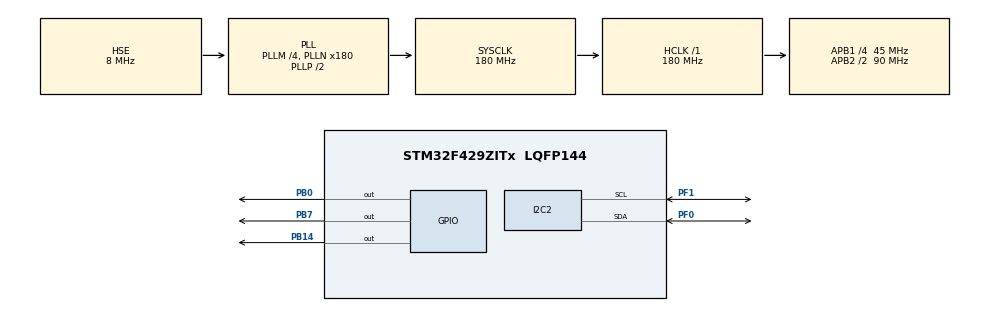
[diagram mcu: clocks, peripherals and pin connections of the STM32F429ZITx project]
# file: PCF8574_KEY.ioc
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I2C2.OwnAddress=0
Mcu.Family=STM32F4
Mcu.Name=STM32F429ZITx
Mcu.Package=LQFP144
NVIC.PriorityGroup=NVIC_PRIORITYGROUP_4
PA13.Mode=Serial_Wire
PA13.Signal=SYS_JTMS-SWDIO
PA14.Mode=Serial_Wire
PA14.Signal=SYS_JTCK-SWCLK
PB0.Signal=GPIO_Output
PB14.Signal=GPIO_Output
PB7.Signal=GPIO_Output
PF0.Mode=I2C
PF0.Signal=I2C2_SDA
PF1.Mode=I2C
PF1.Signal=I2C2_SCL
PH0/OSC_IN.Mode=HSE-External-Oscillator
PH0/OSC_IN.Signal=RCC_OSC_IN
PH1/OSC_OUT.Mode=HSE-External-Oscillator
PH1/OSC_OUT.Signal=RCC_OSC_OUT
ProjectManager.HeapSize=0x200
ProjectManager.StackSize=0x400
ProjectManager.TargetToolchain=STM32CubeIDE
RCC.48MHZClocksFreq_Value=90000000
RCC.AHBFreq_Value=180000000
RCC.APB1CLKDivider=RCC_HCLK_DIV4
RCC.APB1Freq_Value=45000000
RCC.APB1TimFreq_Value=90000000
RCC.APB2CLKDivider=RCC_HCLK_DIV2
RCC.APB2Freq_Value=90000000
RCC.APB2TimFreq_Value=180000000
RCC.CortexFreq_Value=180000000
RCC.HCLKFreq_Value=180000000
RCC.HSE_VALUE=8000000
RCC.HSI_VALUE=16000000
RCC.LSE_VALUE=32768
RCC.PLLM=4
RCC.PLLN=180
RCC.PLLSourceVirtual=RCC_PLLSOURCE_HSE
RCC.SYSCLKFreq_VALUE=180000000
RCC.SYSCLKSource=RCC_SYSCLKSOURCE_PLLCLK
RCC.VCOOutputFreq_Value=360000000
board=custom

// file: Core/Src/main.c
/* USER CODE BEGIN Header */
/**
  ******************************************************************************
  * @file           : main.c
  * @brief          : Main program body
  ******************************************************************************
  * @attention
  *
  * Copyright (c) 2022 STMicroelectronics.
  * All rights reserved.
  *
  * This software is licensed under terms that can be found in the LICENSE file
  * in the root directory of this software component.
  * If no LICENSE file comes with this software, it is provided AS-IS.
  *
  ******************************************************************************
  */
/* USER CODE END Header */
#include "main.h"
#include "i2c.h"
#include "gpio.h"

/* USER CODE BEGIN Includes */

#include "pcf8574.h"
#include "stdio.h"
#include "string.h"
#include "usart.h"
#include "EXTI_keypad.h"

/* USER CODE END Includes */

/* USER CODE BEGIN PTD */

#include "math.h"

char scan(void);
char scan2(void);
void key_scan(void);
uint8_t readKey(uint8_t row);
uint8_t find_Val(uint8_t r);

/* USER CODE END PTD */

/* USER CODE BEGIN PV */

#define R3 0X80
#define R2 0x40
#define R1 0X20
#define R0 0x10

#define C3 0X00
#define C2 0x00
#define C1 0X00
#define C0 0x00

#define ROWS 4
#define COLS 4

const char keymap2[4][4] = {
  {'E','F','G','H'},
  {'I','J','K','L'},
  {'M','N','O','P'},
  {'Q','R','S','T'}
};

uint8_t keyx;

/////////////////////////////////////////////////////////////////////////////////

	const char keymap[4][4] = {
							  {'1','2','3','A'},
		  	  	  	  	  	  {'4','5','6','B'},
							  {'7','8','9','C'},
							  {'*','0','#','D'}
	};

 const char columnMask[4]; //= { 2, 1, 3, 4 };	//column select values

 char keypad_val;
 char keypad_val2;

 uint8_t val;
 uint8_t final_key_val = 0;

 uint8_t val2;
 uint8_t final_key_val2 = 0;

 uint8_t key1_flag = 0;
 uint8_t key2_flag = 0;

 uint8_t key_scan_flag1 = 0;
 uint8_t key_scan_flag2 = 0;

 //////////////////////////////////////////////
 char j = 0;
 	char k = 0;
 	uint8_t temp;
 	uint8_t temp_2;
 	uint8_t final_col[1] = {0};
 	uint8_t final_col2[1] = {0};
 	uint8_t a = 0;
/////////////////////////////////////////////////

/////////////////////////////////////////////////////////////////////////////////

 uint8_t data;
 uint8_t data_2;
 uint8_t rdata[1] = {0};
 uint8_t rdata2[1] = {0};
 uint8_t receieve_data = 0;
 char val_i2c[1] = {0};
 volatile int portPC13counter;

/* USER CODE END PV */

void SystemClock_Config(void);

int main(void)
{
  /* USER CODE BEGIN 1 */
//HAL_StatusTypeDef ret;

  /* USER CODE END 1 */

  /* MCU Configuration--------------------------------------------------------*/

  /* Reset of all peripherals, Initializes the Flash interface and the Systick. */
  HAL_Init();

  /* Configure the system clock */
  SystemClock_Config();

  /* Initialize all configured peripherals */
  MX_GPIO_Init();
  MX_I2C2_Init();
  /* USER CODE BEGIN 2 */
  uart3_pin_conf();
  EXTI_Keypad();

  //HAL_GPIO_WritePin(GPIOB, GPIO_PIN_14, GPIO_PIN_RESET);

  if(HAL_I2C_IsDeviceReady(&hi2c2,65,1, 100) == HAL_OK)
  {
	  HAL_GPIO_TogglePin(GPIOB, GPIO_PIN_14);
  }

//  HAL_I2C_Slave_Receive_IT(&hi2c2, rdata, sizeof(rdata));

  /* USER CODE END 2 */

  /* Infinite loop */
  /* USER CODE BEGIN WHILE */
  while (1)
  {

//	  final_col[0] = 255;
//
//	  HAL_I2C_Master_Transmit(&hi2c2, 65, final_col, 1, 100);
	  ///////////////////////////////  Transmit & Recieve I2C for 8pins 4x4 Matrix  /////////////////////////////////
	  if(HAL_I2C_IsDeviceReady(&hi2c2,64,1, 100) == HAL_OK)
	    {

		  HAL_GPIO_TogglePin(GPIOB, GPIO_PIN_7);

	    	  data = 0x0F;

	    		  j++;
	    		  if(j < 5)
	    		  {
					  data &= ~(0xF0 >> j);
					  temp = data;
					  temp &= 0x07;
					  if(j == 1)
					  {
						  temp = data + 7;
					  }
					  else if(j == 2)
					  {
						  temp = data + 4;
					  }
					  else if(j == 3)
					  {
						  temp = data + 10;
					  }
					  else if(j == 4)
					  {
						  temp = data + 13;
					  }

					  final_col[0] = temp + 240;

					  HAL_I2C_Master_Transmit(&hi2c2, 65, final_col, 1, 100);

					  HAL_I2C_Master_Receive(&hi2c2, 64, rdata, sizeof(rdata), 100);

					  key_scan_flag1 = 1;

	    		   }
	    		  else
	    		  {
	    			  j = 0;
	    		  }

	    	  keypad_val = scan();

	    	  USART_write(keypad_val);
//
	    	  HAL_Delay(1);
	    }
	  /////////////////////////////////////////////////////////////////////////////////////////////////////

	    	  ///////////////////////////////  Transmit & Recieve I2C for 8pins 4x4 Matrix 2nd keypad /////////////////////////////////
	  	 /* if(HAL_I2C_IsDeviceReady(&hi2c2,78,1, 100) == HAL_OK)
	  	    {

	  		HAL_GPIO_TogglePin(GPIOB, GPIO_PIN_14);

	    	  data_2 = 0x0F;

	    	  	    		  k++;
	    	  	    		  if(k < 5)
	    	  	    		  {
	    	  	    			data_2 &= ~(0xF0 >> k);
	    	  					  temp_2 = data_2;
	    	  					  temp_2 &= 0x07;
	    	  					  if(k == 1)
	    	  					  {
	    	  						  temp_2 = data_2 + 7;
	    	  					  }
	    	  					  else if(k == 2)
	    	  					  {
	    	  						  temp_2 = data_2 + 4;
	    	  					  }
	    	  					  else if(k == 3)
	    	  					  {
	    	  						  temp_2 = data_2 + 10;
	    	  					  }
	    	  					  else if(k == 4)
	    	  					  {
	    	  						  temp_2 = data_2 + 13;
	    	  					  }

	    	  					  final_col2[0] = temp_2 + 240;

	    	  					  HAL_I2C_Master_Transmit(&hi2c2, 79, final_col2, 1, 100);

	    	  					  HAL_I2C_Master_Receive(&hi2c2, 78, rdata2, sizeof(rdata2), 100);

	    	  					key_scan_flag2 = 1;

	    	  	    		   }
	    	  	    		  else
	    	  	    		  {
	    	  	    			  k = 0;
	    	  	    		  }

//	    	  	    		keypad_val2 = scan2();
//
//	    	  	    	  USART_write(keypad_val2);

//	    	  	    	  HAL_Delay(1);
	  	    }
*/
  /*
	  	  if(key1_flag == 1)
	  	  {
	  		  key1_flag = 0;
	  		  keypad_val = scan();
	  	  }

		  if(key2_flag == 1)
	   	  {
	  		  key2_flag = 0;
	  		  keypad_val2 = scan2();
	  	  }*/

	  	/*if(keypad_val2 != 0)
	  	{
	  		USART_write(keypad_val2);
	  	}
	  	else if(keypad_val != 0)
	  	{
	  		USART_write(keypad_val);
	  	}
*/
	    	  	  /////////////////////////////////////////////////////////////////////////////////////////////////////

    /* USER CODE END WHILE */

  }
}

void SystemClock_Config(void)
{
  RCC_OscInitTypeDef RCC_OscInitStruct = {0};
  RCC_ClkInitTypeDef RCC_ClkInitStruct = {0};

  /** Configure the main internal regulator output voltage
  */
  __HAL_RCC_PWR_CLK_ENABLE();
  __HAL_PWR_VOLTAGESCALING_CONFIG(PWR_REGULATOR_VOLTAGE_SCALE1);

  /** Initializes the RCC Oscillators according to the specified parameters
  * in the RCC_OscInitTypeDef structure.
  */
  RCC_OscInitStruct.OscillatorType = RCC_OSCILLATORTYPE_HSE;
  RCC_OscInitStruct.HSEState = RCC_HSE_ON;
  RCC_OscInitStruct.PLL.PLLState = RCC_PLL_ON;
  RCC_OscInitStruct.PLL.PLLSource = RCC_PLLSOURCE_HSE;
  RCC_OscInitStruct.PLL.PLLM = 4;
  RCC_OscInitStruct.PLL.PLLN = 180;
  RCC_OscInitStruct.PLL.PLLP = RCC_PLLP_DIV2;
  RCC_OscInitStruct.PLL.PLLQ = 4;
  if (HAL_RCC_OscConfig(&RCC_OscInitStruct) != HAL_OK)
  {
    Error_Handler();
  }

  /** Activate the Over-Drive mode
  */
  if (HAL_PWREx_EnableOverDrive() != HAL_OK)
  {
    Error_Handler();
  }

  /** Initializes the CPU, AHB and APB buses clocks
  */
  RCC_ClkInitStruct.ClockType = RCC_CLOCKTYPE_HCLK|RCC_CLOCKTYPE_SYSCLK
                              |RCC_CLOCKTYPE_PCLK1|RCC_CLOCKTYPE_PCLK2;
  RCC_ClkInitStruct.SYSCLKSource = RCC_SYSCLKSOURCE_PLLCLK;
  RCC_ClkInitStruct.AHBCLKDivider = RCC_SYSCLK_DIV1;
  RCC_ClkInitStruct.APB1CLKDivider = RCC_HCLK_DIV4;
  RCC_ClkInitStruct.APB2CLKDivider = RCC_HCLK_DIV2;

  if (HAL_RCC_ClockConfig(&RCC_ClkInitStruct, FLASH_LATENCY_5) != HAL_OK)
  {
    Error_Handler();
  }
}

/* USER CODE BEGIN 4 */

char scan(void)
{

	val = rdata[0];

	key1_flag = 1;

	if(val < 247)
	{
		final_key_val = val;
	}

		  		switch(final_key_val)
		  		{
		  			case 119:	return keymap[0][0];	//first row pressed
		  			case 123:	return keymap[0][1];	//first row pressed
		  			case 125:	return keymap[0][2];	//first row pressed
		  			case 126:	return keymap[0][3];	//first row pressed

		  			case 183:	return keymap[1][0];	//first row pressed
		  			case 187:	return keymap[1][1];	//first row pressed
		  			case 189:	return keymap[1][2];	//first row pressed
		  			case 190:	return keymap[1][3];	//first row pressed

		  			case 215:	return keymap[2][0];	//third row pressed
		  			case 219:	return keymap[2][1];	//third row pressed
		  			case 221:	return keymap[2][2];	//third row pressed
		  			case 222:	return keymap[2][3];	//third row pressed

		  			case 231:	return keymap[3][0];	//third row pressed
		  			case 235:	return keymap[3][1];	//third row pressed
		  			case 237:	return keymap[3][2];	//third row pressed
		  			case 238:	return keymap[3][3];	//third row pressed

		  			default:	break;					//no pressed button found on this column
		  		}

	 return 0;	//no button pressed => blank 7 segment
}

//
//char scan2(void)
//{
//
//	val2 = rdata2[0];
//
//	key2_flag = 1;
//
//	if(val2 < 247)
//	{
//		final_key_val2 = val2;
//	}
//
//		  		switch(final_key_val2)
//		  		{
//		  			case 119:	return keymap2[0][0];	//first row pressed
//		  			case 123:	return keymap2[0][1];	//first row pressed
//		  			case 125:	return keymap2[0][2];	//first row pressed
//		  			case 126:	return keymap2[0][3];	//first row pressed
//
//		  			case 183:	return keymap2[1][0];	//first row pressed
//		  			case 187:	return keymap2[1][1];	//first row pressed
//		  			case 189:	return keymap2[1][2];	//first row pressed
//		  			case 190:	return keymap2[1][3];	//first row pressed
//
//		  			case 215:	return keymap2[2][0];	//third row pressed
//		  			case 219:	return keymap2[2][1];	//third row pressed
//		  			case 221:	return keymap2[2][2];	//third row pressed
//		  			case 222:	return keymap2[2][3];	//third row pressed
//
//		  			case 231:	return keymap2[3][0];	//third row pressed
//		  			case 235:	return keymap2[3][1];	//third row pressed
//		  			case 237:	return keymap2[3][2];	//third row pressed
//		  			case 238:	return keymap2[3][3];	//third row pressed
//		  			default:	break;					//no pressed button found on this column
//		  		}
////	  }
//	 return 0;	//no button pressed => blank 7 segment
//}

/*************************************************
* interrupt handler	PG1 EXT BUTTON
*************************************************/
/*

void EXTI15_10_IRQHandler(void)
{
								PC13 EXT USER BUTTON COUNTER
if(EXTI->PR == 0x2000)
{
	HAL_GPIO_TogglePin(GPIOB, GPIO_PIN_0);
//	GPIOB->ODR ^= (1<<0);
//	GPIOB->ODR |= (1<<14);
	portPC13counter++;
	EXTI->PR |=	0x2000;		//PC13

	//////////////////////////////////////////////	INTERRPT KEYPAD	 /////////////////////////////////////////////////////
	if(key_scan_flag1 == 1)
	{
		key_scan_flag1 = 0;
		key1_flag = 1;
	}
//    if(key_scan_flag2 == 1)
//	{
//		key_scan_flag2 = 0;
//		key2_flag = 1;
//	}

	/////////////////////////////////////////////////////////////////////////////////////////////////////////////////////
}

}
*/

//
//void EXTI1_IRQHandler(void)
//{
//
//	/*if(flg == 0) //on
//		{
//			if(GPIOG->IDR == 0xf7bc)
//				{
//					GPIOB->ODR	|=	(1<<7);
//				}
//			flg = 1;
//		}
//
//		else if(flg == 1)
//		{
//			if(GPIOG->IDR == 0xf7bc)
//				{
//					GPIOB->ODR &= ~(1<<7);
//				}
//
//			flg = 0;
//		}*/
//
//	GPIOB->ODR &= ~(1<<14);
//
//	EXTI->PR |=	EXTI_PR_PR1;	//This bit is set when the selected edge event arrives on the external interrupt line.
//}

/* USER CODE END 4 */

void Error_Handler(void)
{
  __disable_irq();
  while (1)
  {
  }
}
